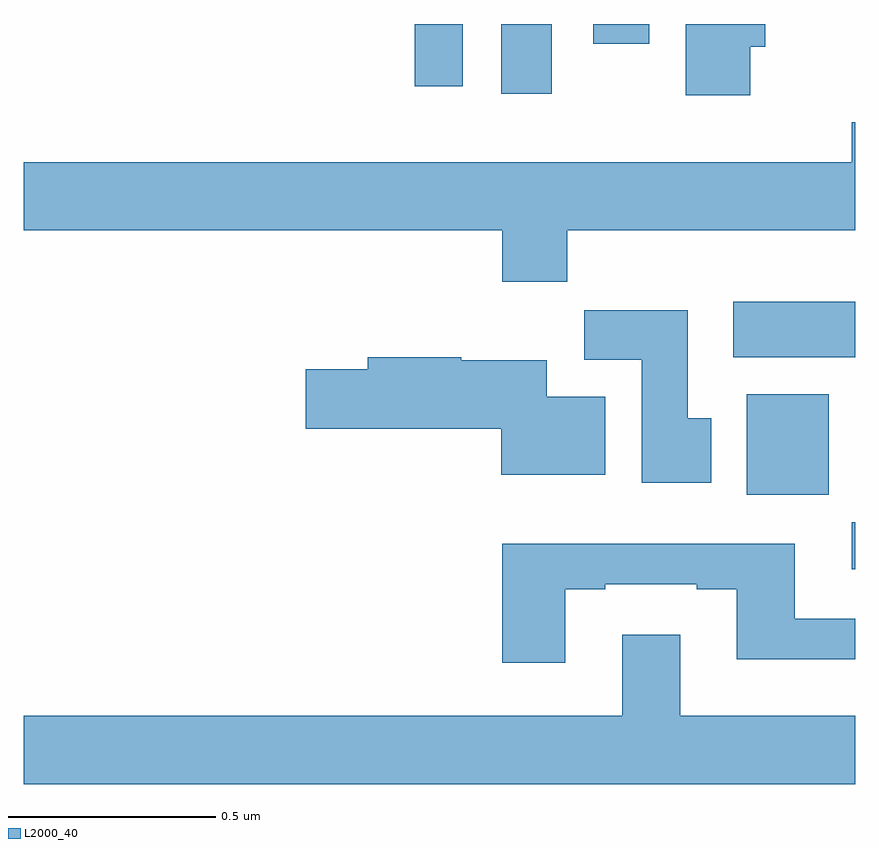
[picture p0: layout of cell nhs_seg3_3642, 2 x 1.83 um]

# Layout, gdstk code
import gdstk
lib = gdstk.Library(unit=1e-6, precision=1e-09)
def R(c, l, rs):  # rectangles x0, y0, x1, y1
    for r in rs: c.add(gdstk.rectangle(r[:2], r[2:], *l))
def P(c, l, *ps):  # polygons
    for p in ps: c.add(gdstk.Polygon(p, *l))
L2000_40 = (2000, 40)

nhs_seg3_3642 = lib.new_cell('nhs_seg3_3642')
R(nhs_seg3_3642, L2000_40, [(157.991,712.089,158,712.202), (157.739,712.268,157.936,712.51), (157.707,712.598,158,712.732), (157.148,713.232,157.27,713.4), (156.94,713.25,157.056,713.4), (157.37,713.352,157.504,713.4)])
P(nhs_seg3_3642, L2000_40, [(157.747,713.345),(157.783,713.345),(157.783,713.4),(157.592,713.4),(157.592,713.229),(157.747,713.229)],
  [(157.307,712.904),(158,712.904),(158,713.164),(157.991,713.164),(157.991,713.068),(156,713.068),(156,712.904),(157.151,712.904),(157.151,712.78),(157.307,712.78)],
  [(157.654,712.452),(157.597,712.452),(157.597,712.711),(157.348,712.711),(157.348,712.592),(157.487,712.592),(157.487,712.296),(157.654,712.296)],
  [(157.399,712.504),(157.258,712.504),(157.258,712.591),(157.052,712.591),(157.052,712.599),(156.827,712.599),(156.827,712.569),(156.678,712.569),(156.678,712.427),(157.148,712.427),(157.148,712.316),(157.399,712.316)],
  [(157.303,712.041),(157.399,712.041),(157.399,712.053),(157.619,712.053),(157.619,712.041),(157.715,712.041),(157.715,711.872),(158,711.872),(158,711.969),(157.855,711.969),(157.855,712.15),(157.151,712.15),(157.151,711.864),(157.303,711.864)],
  [(158,711.736),(157.579,711.736),(157.579,711.931),(157.439,711.931),(157.439,711.736),(156,711.736),(156,711.572),(158,711.572)])

lib.write_gds('nhs_seg3_3642.gds')
